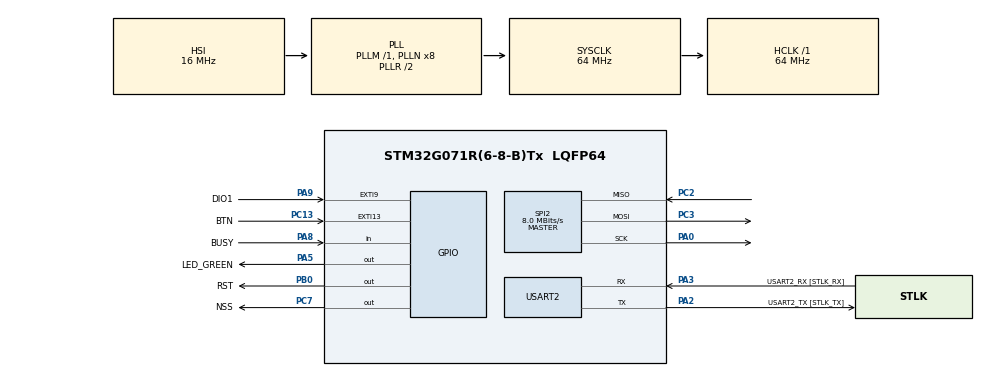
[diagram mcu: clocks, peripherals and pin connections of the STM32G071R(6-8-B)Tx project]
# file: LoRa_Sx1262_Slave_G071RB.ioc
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Mcu.Family=STM32G0
Mcu.Name=STM32G071R(6-8-B)Tx
Mcu.Package=LQFP64
NVIC.EXTI4_15_IRQn=true\:0\:0\:false\:false\:true\:true\:true\:true
PA0.Mode=Full_Duplex_Master
PA0.Signal=SPI2_SCK
PA13.GPIO_Label=TMS
PA13.Mode=Serial_Wire
PA13.Signal=SYS_SWDIO
PA14-BOOT0.GPIO_Label=TCK
PA14-BOOT0.Mode=Serial_Wire
PA14-BOOT0.Signal=SYS_SWCLK
PA2.GPIO_Label=USART2_TX [STLK_TX]
PA2.GPIO_PuPd=GPIO_PULLUP
PA2.Mode=Asynchronous
PA2.Signal=USART2_TX
PA3.GPIO_Label=USART2_RX [STLK_RX]
PA3.GPIO_PuPd=GPIO_PULLUP
PA3.Mode=Asynchronous
PA3.Signal=USART2_RX
PA5.GPIO_Label=LED_GREEN
PA5.GPIO_Speed=GPIO_SPEED_FREQ_HIGH
PA5.Signal=GPIO_Output
PA8.GPIO_Label=BUSY
PA8.Signal=GPIO_Input
PA9.GPIO_Label=DIO1
PA9.Signal=GPXTI9
PB0.GPIO_Label=RST
PB0.PinState=GPIO_PIN_SET
PB0.Signal=GPIO_Output
PC13.GPIO_Label=BTN
PC13.Signal=GPXTI13
PC14-OSC32_IN\ (PC14).Mode=LSE-External-Oscillator
PC14-OSC32_IN\ (PC14).Signal=RCC_OSC32_IN
PC15-OSC32_OUT\ (PC15).Mode=LSE-External-Oscillator
PC15-OSC32_OUT\ (PC15).Signal=RCC_OSC32_OUT
PC2.Mode=Full_Duplex_Master
PC2.Signal=SPI2_MISO
PC3.Mode=Full_Duplex_Master
PC3.Signal=SPI2_MOSI
PC7.GPIO_Label=NSS
PC7.PinState=GPIO_PIN_SET
PC7.Signal=GPIO_Output
PF0-OSC_IN\ (PF0).GPIO_Label=MCO
PF0-OSC_IN\ (PF0).Mode=HSE-External-Clock-Source
PF0-OSC_IN\ (PF0).Signal=RCC_OSC_IN
ProjectManager.HeapSize=0x200
ProjectManager.StackSize=0x400
ProjectManager.TargetToolchain=STM32CubeIDE
RCC.ADCFreq_Value=64000000
RCC.AHBFreq_Value=64000000
RCC.CortexFreq_Value=64000000
RCC.EXTERNAL_CLOCK_VALUE=12288000
RCC.HCLKFreq_Value=64000000
RCC.HSE_VALUE=8000000
RCC.HSI_VALUE=16000000
RCC.SYSCLKFreq_VALUE=64000000
RCC.SYSCLKSource=RCC_SYSCLKSOURCE_PLLCLK
RCC.VCOOutputFreq_Value=128000000
SPI2.BaudRatePrescaler=SPI_BAUDRATEPRESCALER_8
SPI2.CalculateBaudRate=8.0 MBits/s
SPI2.DataSize=SPI_DATASIZE_8BIT
SPI2.Direction=SPI_DIRECTION_2LINES
SPI2.Mode=SPI_MODE_MASTER
SPI2.VirtualType=VM_MASTER
USART2.VirtualMode-Asynchronous=VM_ASYNC
board=NUCLEO-G071RB

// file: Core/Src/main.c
/* USER CODE BEGIN Header */
/**
  ******************************************************************************
  * @file           : main.c
  * @brief          : Main program body
  ******************************************************************************
  * @attention
  *
  * Copyright (c) 2024 STMicroelectronics.
  * All rights reserved.
  *
  * This software is licensed under terms that can be found in the LICENSE file
  * in the root directory of this software component.
  * If no LICENSE file comes with this software, it is provided AS-IS.
  *
  ******************************************************************************
  */
/* USER CODE END Header */
#include "main.h"

/* USER CODE BEGIN Includes */
#include "sx126x.h"
#include "sx126x_hal.h"
#include "sx1262_B_common.h"
#include <stdio.h>
/* USER CODE END Includes */

/* USER CODE BEGIN PTD */
LoRaConfig LoRa;

uint8_t txdata[10];
uint8_t rxdata[10];
static volatile bool irq_fired = false;
static volatile bool btn_pressed = false;
static sx126x_pkt_type_t pkt_type ;
static sx126x_chip_status_t radio_status;
static sx126x_stats_lora_t stats;
static sx126x_errors_mask_t errors;
/* USER CODE END PTD */

SPI_HandleTypeDef hspi2;

UART_HandleTypeDef huart2;

void SystemClock_Config(void);
static void MX_GPIO_Init(void);
static void MX_USART2_UART_Init(void);
static void MX_SPI2_Init(void);

int main(void)
{

  /* MCU Configuration--------------------------------------------------------*/

  /* Reset of all peripherals, Initializes the Flash interface and the Systick. */
  HAL_Init();

  /* Configure the system clock */
  SystemClock_Config();

  /* Initialize all configured peripherals */
  MX_GPIO_Init();
  MX_USART2_UART_Init();
  MX_SPI2_Init();
  /* USER CODE BEGIN 2 */

  /****************************LoRa Module Initialization *******************************/
    printf("Slave APPLICATION\n\r");
    init_LoRa_parm();
    sx126x_clear_device_errors( &LoRa);
    sx126x_init(&LoRa );
    Radio_init(&LoRa);
    sx126x_clear_irq_status( &LoRa, SX126X_IRQ_ALL );
    sx126x_set_dio_irq_params(
  		  &LoRa, SX126X_IRQ_ALL,
            SX126X_IRQ_TX_DONE | SX126X_IRQ_RX_DONE,
            SX126X_IRQ_NONE, SX126X_IRQ_NONE );

        sx126x_clear_irq_status( &LoRa, SX126X_IRQ_ALL );
    /****************************LoRa Module Initialization END *******************************/
        sx126x_get_pkt_type( &LoRa, &pkt_type );
        sx126x_get_status( &LoRa, &radio_status );
        sx126x_get_lora_stats( &LoRa, &stats );
        sx126x_get_device_errors( &LoRa, &errors);

        HAL_Delay(5000);
        sx126x_get_device_errors( &LoRa, &errors);

        sx126x_set_rx( &LoRa, 0);

  /* USER CODE END 2 */

  /* Infinite loop */
  while (1)
  {

    /* USER CODE BEGIN 3 */
	  apps_common_sx126x_irq_process(&LoRa);
	  //HAL_GPIO_TogglePin(GPIOA, GPIO_PIN_5);
	  //HAL_Delay(250);
  }
  /* USER CODE END 3 */
}

void SystemClock_Config(void)
{
  RCC_OscInitTypeDef RCC_OscInitStruct = {0};
  RCC_ClkInitTypeDef RCC_ClkInitStruct = {0};

  /** Configure the main internal regulator output voltage
  */
  HAL_PWREx_ControlVoltageScaling(PWR_REGULATOR_VOLTAGE_SCALE1);

  /** Initializes the RCC Oscillators according to the specified parameters
  * in the RCC_OscInitTypeDef structure.
  */
  RCC_OscInitStruct.OscillatorType = RCC_OSCILLATORTYPE_HSI;
  RCC_OscInitStruct.HSIState = RCC_HSI_ON;
  RCC_OscInitStruct.HSIDiv = RCC_HSI_DIV1;
  RCC_OscInitStruct.HSICalibrationValue = RCC_HSICALIBRATION_DEFAULT;
  RCC_OscInitStruct.PLL.PLLState = RCC_PLL_ON;
  RCC_OscInitStruct.PLL.PLLSource = RCC_PLLSOURCE_HSI;
  RCC_OscInitStruct.PLL.PLLM = RCC_PLLM_DIV1;
  RCC_OscInitStruct.PLL.PLLN = 8;
  RCC_OscInitStruct.PLL.PLLP = RCC_PLLP_DIV2;
  RCC_OscInitStruct.PLL.PLLQ = RCC_PLLQ_DIV2;
  RCC_OscInitStruct.PLL.PLLR = RCC_PLLR_DIV2;
  if (HAL_RCC_OscConfig(&RCC_OscInitStruct) != HAL_OK)
  {
    Error_Handler();
  }

  /** Initializes the CPU, AHB and APB buses clocks
  */
  RCC_ClkInitStruct.ClockType = RCC_CLOCKTYPE_HCLK|RCC_CLOCKTYPE_SYSCLK
                              |RCC_CLOCKTYPE_PCLK1;
  RCC_ClkInitStruct.SYSCLKSource = RCC_SYSCLKSOURCE_PLLCLK;
  RCC_ClkInitStruct.AHBCLKDivider = RCC_SYSCLK_DIV1;
  RCC_ClkInitStruct.APB1CLKDivider = RCC_HCLK_DIV1;

  if (HAL_RCC_ClockConfig(&RCC_ClkInitStruct, FLASH_LATENCY_2) != HAL_OK)
  {
    Error_Handler();
  }
}

static void MX_SPI2_Init(void)
{

  /* SPI2 parameter configuration*/
  hspi2.Instance = SPI2;
  hspi2.Init.Mode = SPI_MODE_MASTER;
  hspi2.Init.Direction = SPI_DIRECTION_2LINES;
  hspi2.Init.DataSize = SPI_DATASIZE_8BIT;
  hspi2.Init.CLKPolarity = SPI_POLARITY_LOW;
  hspi2.Init.CLKPhase = SPI_PHASE_1EDGE;
  hspi2.Init.NSS = SPI_NSS_SOFT;
  hspi2.Init.BaudRatePrescaler = SPI_BAUDRATEPRESCALER_8;
  hspi2.Init.FirstBit = SPI_FIRSTBIT_MSB;
  hspi2.Init.TIMode = SPI_TIMODE_DISABLE;
  hspi2.Init.CRCCalculation = SPI_CRCCALCULATION_DISABLE;
  hspi2.Init.CRCPolynomial = 7;
  hspi2.Init.CRCLength = SPI_CRC_LENGTH_DATASIZE;
  hspi2.Init.NSSPMode = SPI_NSS_PULSE_ENABLE;
  if (HAL_SPI_Init(&hspi2) != HAL_OK)
  {
    Error_Handler();
  }

}

static void MX_USART2_UART_Init(void)
{

  huart2.Instance = USART2;
  huart2.Init.BaudRate = 115200;
  huart2.Init.WordLength = UART_WORDLENGTH_8B;
  huart2.Init.StopBits = UART_STOPBITS_1;
  huart2.Init.Parity = UART_PARITY_NONE;
  huart2.Init.Mode = UART_MODE_TX_RX;
  huart2.Init.HwFlowCtl = UART_HWCONTROL_NONE;
  huart2.Init.OverSampling = UART_OVERSAMPLING_16;
  huart2.Init.OneBitSampling = UART_ONE_BIT_SAMPLE_DISABLE;
  huart2.Init.ClockPrescaler = UART_PRESCALER_DIV1;
  huart2.AdvancedInit.AdvFeatureInit = UART_ADVFEATURE_NO_INIT;
  if (HAL_UART_Init(&huart2) != HAL_OK)
  {
    Error_Handler();
  }
  if (HAL_UARTEx_SetTxFifoThreshold(&huart2, UART_TXFIFO_THRESHOLD_1_8) != HAL_OK)
  {
    Error_Handler();
  }
  if (HAL_UARTEx_SetRxFifoThreshold(&huart2, UART_RXFIFO_THRESHOLD_1_8) != HAL_OK)
  {
    Error_Handler();
  }
  if (HAL_UARTEx_DisableFifoMode(&huart2) != HAL_OK)
  {
    Error_Handler();
  }

}

static void MX_GPIO_Init(void)
{
  GPIO_InitTypeDef GPIO_InitStruct = {0};

  /* GPIO Ports Clock Enable */
  __HAL_RCC_GPIOC_CLK_ENABLE();
  __HAL_RCC_GPIOF_CLK_ENABLE();
  __HAL_RCC_GPIOA_CLK_ENABLE();
  __HAL_RCC_GPIOB_CLK_ENABLE();

  /*Configure GPIO pin Output Level */
  HAL_GPIO_WritePin(LED_GREEN_GPIO_Port, LED_GREEN_Pin, GPIO_PIN_RESET);

  /*Configure GPIO pin Output Level */
  HAL_GPIO_WritePin(RST_GPIO_Port, RST_Pin, GPIO_PIN_SET);

  /*Configure GPIO pin Output Level */
  HAL_GPIO_WritePin(NSS_GPIO_Port, NSS_Pin, GPIO_PIN_SET);

  /*Configure GPIO pin : BTN_Pin */
  GPIO_InitStruct.Pin = BTN_Pin;
  GPIO_InitStruct.Mode = GPIO_MODE_IT_RISING;
  GPIO_InitStruct.Pull = GPIO_NOPULL;
  HAL_GPIO_Init(BTN_GPIO_Port, &GPIO_InitStruct);

  /*Configure GPIO pin : LED_GREEN_Pin */
  GPIO_InitStruct.Pin = LED_GREEN_Pin;
  GPIO_InitStruct.Mode = GPIO_MODE_OUTPUT_PP;
  GPIO_InitStruct.Pull = GPIO_NOPULL;
  GPIO_InitStruct.Speed = GPIO_SPEED_FREQ_HIGH;
  HAL_GPIO_Init(LED_GREEN_GPIO_Port, &GPIO_InitStruct);

  /*Configure GPIO pin : RST_Pin */
  GPIO_InitStruct.Pin = RST_Pin;
  GPIO_InitStruct.Mode = GPIO_MODE_OUTPUT_PP;
  GPIO_InitStruct.Pull = GPIO_NOPULL;
  GPIO_InitStruct.Speed = GPIO_SPEED_FREQ_LOW;
  HAL_GPIO_Init(RST_GPIO_Port, &GPIO_InitStruct);

  /*Configure GPIO pin : BUSY_Pin */
  GPIO_InitStruct.Pin = BUSY_Pin;
  GPIO_InitStruct.Mode = GPIO_MODE_INPUT;
  GPIO_InitStruct.Pull = GPIO_NOPULL;
  HAL_GPIO_Init(BUSY_GPIO_Port, &GPIO_InitStruct);

  /*Configure GPIO pin : DIO1_Pin */
  GPIO_InitStruct.Pin = DIO1_Pin;
  GPIO_InitStruct.Mode = GPIO_MODE_IT_RISING;
  GPIO_InitStruct.Pull = GPIO_NOPULL;
  HAL_GPIO_Init(DIO1_GPIO_Port, &GPIO_InitStruct);

  /*Configure GPIO pin : NSS_Pin */
  GPIO_InitStruct.Pin = NSS_Pin;
  GPIO_InitStruct.Mode = GPIO_MODE_OUTPUT_PP;
  GPIO_InitStruct.Pull = GPIO_NOPULL;
  GPIO_InitStruct.Speed = GPIO_SPEED_FREQ_LOW;
  HAL_GPIO_Init(NSS_GPIO_Port, &GPIO_InitStruct);

  /* EXTI interrupt init*/
  HAL_NVIC_SetPriority(EXTI4_15_IRQn, 0, 0);
  HAL_NVIC_EnableIRQ(EXTI4_15_IRQn);

}

/* USER CODE BEGIN 4 */

void init_LoRa_parm(void)
{
	txdata[0] = 'S';
	txdata[1] = 'L';
	txdata[2] = 'o';
	txdata[3] = 'R';
	txdata[4] = 'a';

	LoRa.BUSY_port = BUSY_GPIO_Port;
	LoRa.BUSY_pin  = BUSY_Pin;
	LoRa.NSS_port  = NSS_GPIO_Port;
	LoRa.NSS_pin   = NSS_Pin;
	LoRa.RST_port  = RST_GPIO_Port;
	LoRa.RST_pin   = RST_Pin;
	LoRa.DIO1_port = DIO1_GPIO_Port;
	LoRa.DIO1_pin  = DIO1_Pin;

	LoRa.hSPIx     = &hspi2;
}

void HAL_GPIO_EXTI_Rising_Callback(uint16_t GPIO_Pin)
{
	if(GPIO_Pin == LoRa.DIO1_pin)
	  {
		  irq_fired = true;
	  }
	if(GPIO_Pin == BTN_Pin)
	{
		btn_pressed = true;
	}
}

int _write(int file, char *ptr, int len)
{
  (void)file;
  HAL_UART_Transmit(&huart2, (uint8_t*)ptr, len, HAL_MAX_DELAY);
  return len;
}
void apps_common_sx126x_irq_process( const void* context )
{
    if( irq_fired == true )
    {
        irq_fired = false;

        sx126x_irq_mask_t irq_regs;
        sx126x_get_and_clear_irq_status( context, &irq_regs );

        if( ( irq_regs & SX126X_IRQ_TX_DONE ) == SX126X_IRQ_TX_DONE )
        {
            printf( "Tx done\n\r" );
            //on_tx_done( );
        }

        if( ( irq_regs & SX126X_IRQ_RX_DONE ) == SX126X_IRQ_RX_DONE )
        {
        	printf( "Rx done\n\r" );
            sx126x_handle_rx_done( context );
            on_rx_done( );

        }

        if( ( irq_regs & SX126X_IRQ_PREAMBLE_DETECTED ) == SX126X_IRQ_PREAMBLE_DETECTED )
        {
        	printf( "Preamble detected\n\r" );
            //on_preamble_detected( );
        }

        if( ( irq_regs & SX126X_IRQ_SYNC_WORD_VALID ) == SX126X_IRQ_SYNC_WORD_VALID )
        {
        	printf( "Syncword valid\n\r" );
            //on_syncword_valid( );
        }

        if( ( irq_regs & SX126X_IRQ_HEADER_VALID ) == SX126X_IRQ_HEADER_VALID )
        {
        	printf( "Header valid\n\r" );
            //on_header_valid( );
        }

        if( ( irq_regs & SX126X_IRQ_HEADER_ERROR ) == SX126X_IRQ_HEADER_ERROR )
        {
        	printf( "Header error\n\r" );
            //on_header_error( );
        }

        if( ( irq_regs & SX126X_IRQ_CRC_ERROR ) == SX126X_IRQ_CRC_ERROR )
        {
        	printf( "CRC error\n\r" );
            //on_crc_error( );
        }

        if( ( irq_regs & SX126X_IRQ_CAD_DONE ) == SX126X_IRQ_CAD_DONE )
        {
        	printf( "CAD done\n\r" );
            if( ( irq_regs & SX126X_IRQ_CAD_DETECTED ) == SX126X_IRQ_CAD_DETECTED )
            {
            	printf( "Channel activity detected\n\r" );
                //on_cad_done_detected( );
            }
            else
            {
            	printf( "No channel activity detected\n\r" );
                //on_cad_done_undetected( );
            }
        }

        if( ( irq_regs & SX126X_IRQ_TIMEOUT ) == SX126X_IRQ_TIMEOUT )
        {
        	printf( "Rx timeout\n\r" );
            //on_rx_timeout( );
        }

        if( ( irq_regs & SX126X_IRQ_LR_FHSS_HOP ) == SX126X_IRQ_LR_FHSS_HOP )
        {
        	printf( "FHSS hop done\n\r" );
            //on_fhss_hop_done( );
        }
    }
    if(btn_pressed == true)
    {
    	btn_pressed = false;
    	updateCount();
    }
}
void on_rx_done(void)
{
	sx126x_rx_buffer_status_t rx_buffer_status;

	sx126x_get_rx_buffer_status( &LoRa, &rx_buffer_status );
	sx126x_read_buffer( &LoRa, 0, rxdata, rx_buffer_status.pld_len_in_bytes );
	rxdata[rx_buffer_status.pld_len_in_bytes] = '\0';
	printf("%s\n\r",rxdata);
	sx126x_set_rx( &LoRa, 0);

}
void updateCount(void)
{
	static int count = 0;
	char sendcmd[10];
	count++;
	if(count>3)
	{
		count = 0;
	}
	sendcmd[0] = 'L';
	sendcmd[1] = 'E';
	sendcmd[2] = 'D';
	sendcmd[3] = '-';

	sprintf(&sendcmd[4],"%d",count);

	sx126x_write_buffer( &LoRa, 0,(uint8_t*)sendcmd, 5 );
	sx126x_set_tx( &LoRa, 0 );

}
/* USER CODE END 4 */

void Error_Handler(void)
{
  __disable_irq();
  while (1)
  {
  }
}
